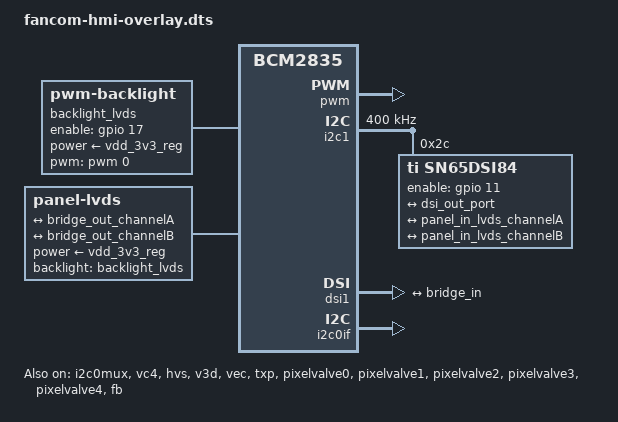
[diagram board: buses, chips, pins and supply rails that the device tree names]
/*
 * vc4-kms-dsi-sn65dsi8x-overlay.dts
 */

/dts-v1/;
/plugin/;
#include <dt-bindings/gpio/gpio.h>
#include <dt-bindings/pinctrl/bcm2835.h>
#include <dt-bindings/interrupt-controller/irq.h>
#include <dt-bindings/clock/bcm2835.h>

#include "cma-overlay.dts"

/ {
	compatible = "brcm,bcm2835";

	/* PWM0 function */
	fragment@0 {
		target = <&gpio>;
		__overlay__ {
			pwm_pins: pwm_pins {
				brcm,pins = <18>; /* pin 49 */
				brcm,function = <BCM2835_FSEL_ALT5>;
			};

			dsi_lvds_en: dsi_lvds_en {
				brcm,pins = <11>;
				brcm,function = <BCM2835_FSEL_GPIO_OUT>;
			};

			i2c1_pins: i2c1 {
				brcm,pins = <44 45>;
				brcm,function = <BCM2835_FSEL_ALT2>;
				brcm,pull = <BCM2835_PUD_UP>;
			};

			backlight_en: backlight_en {
				brcm,pins = <17>; /* pin 50 */
				brcm,function = <BCM2835_FSEL_GPIO_OUT>;
			};
		};
	};

	fragment@1 {
		target = <&pwm>;
		frag1: __overlay__ {
			pinctrl-names = "default";
			pinctrl-0 = <&pwm_pins>;
			assigned-clock-rates = <100000000>;
			status = "okay";
		};
	};

	fragment@2 {
		target-path = "/";
		__overlay__ {
			backlight_lvds: backlight {
				compatible = "pwm-backlight";
				pwms = <&pwm 0 5000000>; /* 200Hz */
				brightness-levels = <0 1000>;
				num-interpolated-steps = <1000>;
				default-brightness-level = <800>;
				enable-gpios = <&gpio 17 GPIO_ACTIVE_HIGH>;

				power-supply = <&vdd_3v3_reg>;
				status = "okay";
			};

			panel: panel {
				compatible = "panel-lvds";
				status = "okay";

				backlight = <&backlight_lvds>;
				power-supply = <&vdd_3v3_reg>;

				width-mm = <344>;
				height-mm = <194>;

				data-mapping = "vesa-24";

				panel-timing {
					/* clock frequency of 70.93Mhz in the datasheet is for single LVDS channel */
					/* since we use dual LVDS channel, the clock frequency is 2*70.93Mhz */
					/* the bridge driver will correct this */
					/* vc4_dsi.c: however, the dsi parent_rate is 3Ghz and the dsi-divider is fixed to (24/#nr-data lanes) */
					/* (3Ghz / 3)/7 = 142.86Mhz. (142.86Mhz * 24bpp) / 8 = 571Mhz DSI clock */
					/* (3Ghz / 4)/7 = 107.14Mhz. (107.14Mhz * 24bpp) / 8 = 428.57Mhz DSI clock */
					/* minimum required DSI clock is (48bits/(3 lanes * 2)) * 60Mhz = 480Mhz
					/* we'll hence need a 571Mhz capped to 500Mhz DSI clock, with a divider of 8 in the bridge, resulting in 62.5Mhz */
					/* 62.5Mhz * 2 = 125Mhz */
					clock-frequency = <125000000>;

					/* the hactive and porches in the datasheet are for a single LVDS channel */
					/* since we use dual LVDS channel, double everything */
					hactive = <1920>;
					hsync-len = <60>;
					hfront-porch = <60>;
					hback-porch = <60>;

					vactive = <1080>;
					vsync-len = <4>;
					vfront-porch = <3>;
					vback-porch = <3>;

					hsync-active = <0>;
					vsync-active = <0>;
					de-active = <1>;
					pixelclk-active = <1>;
				};

				ports {
					port@0 {
						reg = <0>;
						dual-lvds-odd-pixels;
						panel_in_lvds_channelA: endpoint {
							remote-endpoint = <&bridge_out_channelA>;
						};
					};

					port@1 {
						reg = <1>;
						dual-lvds-even-pixels;
						panel_in_lvds_channelB: endpoint {
							remote-endpoint = <&bridge_out_channelB>;
						};
					};
				};
			};
		};
	};

	fragment@3 {
		target = <&i2c1>;
		__overlay__ {
			#gpio-cells = <2>;
			#address-cells = <1>;
			#size-cells = <0>;
			status = "okay";

			pinctrl-names = "default";
			pinctrl-0 = <&i2c1_pins>;
			clock-frequency = <400000>;

			sn65dsi84@2c {
				compatible = "ti,sn65dsi84";
				reg = <0x2c>;
				enable-gpios = <&gpio 11 GPIO_ACTIVE_HIGH>;

				pinctrl-names = "default";
				pinctrl-0 = <&dsi_lvds_en>;
				status = "okay";

				interrupts = <36 IRQ_TYPE_LEVEL_HIGH>;

				ports {
					#address-cells = <1>;
					#size-cells = <0>;

					port@0 {
						reg = <0>;
						bridge_in: endpoint {
							remote-endpoint = <&dsi_out_port>;
							data-lanes = <0 1 2>;
						};
					};

					port@2 {
						reg = <2>;
						bridge_out_channelA: endpoint {
							remote-endpoint = <&panel_in_lvds_channelA>;
						};
					};

					port@3 {
						reg = <3>;
						bridge_out_channelB: endpoint {
							remote-endpoint = <&panel_in_lvds_channelB>;
						};
					};
				};
			};
		};
	};

	fragment@4 {
		target = <&dsi1>;
		__overlay__ {
			#address-cells = <1>;
			#size-cells = <0>;
			status = "okay";
			port {
				dsi_out_port: endpoint {
					remote-endpoint = <&bridge_in>;
					data-lanes = <0 1 2>;
				};
			};
		};
	};

	fragment@5 {
		target = <&i2c0if>;
		__overlay__ {
			status = "okay";
		};
	};
		
	fragment@6 {
		target = <&i2c0mux>;
		__overlay__ {
			status = "okay";
		};
	};

	fragment@20 {
		target = <&vc4>;
		__overlay__ {
			status = "okay";
		};
	};
	fragment@21 {
		target = <&hvs>;
		__overlay__ {
			status = "okay";
		};
	};
	fragment@22 {
		target = <&v3d>;
		__overlay__ {
			status = "okay";
		};
	};
	fragment@23 {
		target = <&clocks>;
		__overlay__ {
			claim-clocks = <
				BCM2835_PLLD_DSI0
				BCM2835_PLLD_DSI1
				BCM2835_PLLH_AUX
				BCM2835_PLLH_PIX
			>;
		};
	};

	fragment@24 {
		target = <&vec>;
		__overlay__ {
			status = "okay";
		};
	};

	fragment@25 {
		target = <&txp>;
		__overlay__ {
			status = "okay";
		};
	};

	fragment@26 {
		target = <&pixelvalve0>;
		__overlay__  {
			status = "okay";
		};
	};

	fragment@27 {
		target = <&pixelvalve1>;
		__overlay__  {
			status = "okay";
		};
	};

	fragment@28 {
		target = <&pixelvalve2>;
		__overlay__  {
			status = "okay";
		};
	};

	fragment@29 {
		target = <&pixelvalve3>;
		__overlay__  {
			status = "okay";
		};
	};

	fragment@30 {
		target = <&pixelvalve4>;
		__overlay__  {
			status = "okay";
		};
	};

	fragment@31 {
		target = <&fb>;
		__overlay__  {
			status = "okay";
		};
	};
};
